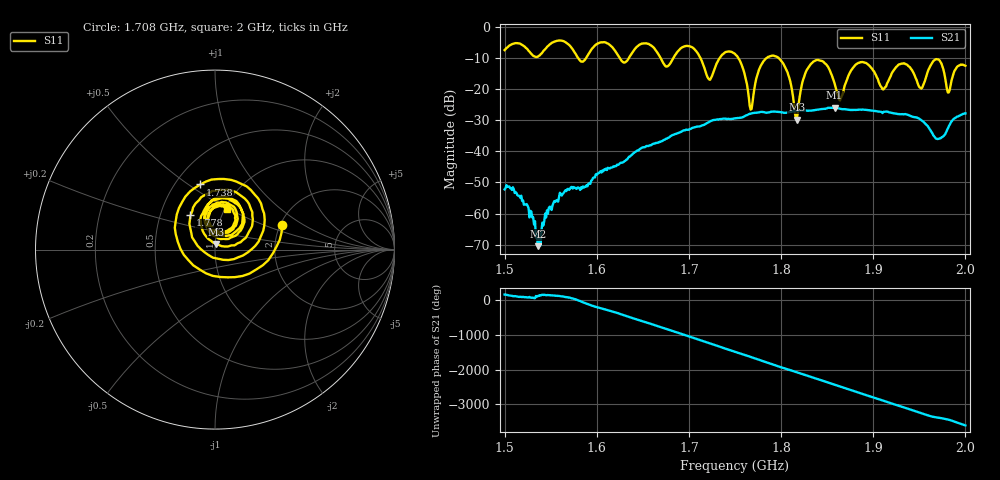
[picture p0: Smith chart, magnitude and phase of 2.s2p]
! NanoVNA-App by SYSJOINT et al v1.1.209 (+OD18)
! Date: 2026-01-21 14:31:13
! Start: 1,5GHz Stop: 2GHz Points: 501
! S-Parameter data: F S11 S21 S12 S22
# Hz S RI R 50
!  Frequency  S11_Real  S11_Imag  S21_Real  S21_Imag  S12_Real  S12_Imag  S22_Real  S22_Imag
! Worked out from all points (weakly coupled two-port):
!   501 points, 1.5 GHz to 2 GHz, reference 50 ohm
!   highest |S21| = -26.08 dB at 1.858 GHz (marker M1); lowest = -70.5 dB at 1.536 GHz (marker M2)
!   lowest |S11| = -29.9 dB at 1.817 GHz (marker M3), VSWR 1.07, Z = 50.4 + j3.2 ohm
!   |S11| at or under -10 dB: 1.712 GHz to 1.734 GHz (21.34 MHz wide, 1.24 % of centre); 1.753 GHz to 1.785 GHz (31.56 MHz wide, 1.78 % of centre); 1.797 GHz to end of sweep (the widest 3 of 6)
!   S12 and S22 are empty: the file has one direction only
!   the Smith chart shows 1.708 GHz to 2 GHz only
!   S11 on the Smith chart (normalised r, x): 1.708 GHz: 2.05, +0.68; 1.738 GHz: 0.66, +0.56; 1.778 GHz: 0.71, +0.29; 2 GHz: 1.02, +0.49
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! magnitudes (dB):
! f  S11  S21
! 1.5 GHz  -7.6  -52.3
! 1.536 GHz  -9.7  -70.5
! 1.584 GHz  -11.3  -51.9
! 1.667 GHz  -8.9  -37.3
! 1.708 GHz  -7.9  -32.2
! 1.722 GHz  -17.0  -30.6
! 1.738 GHz  -8.6  -29.6
! 1.75 GHz  -8.8  -29.4
! 1.767 GHz  -26.7  -27.9
! 1.778 GHz  -12.5  -27.4
! 1.801 GHz  -11.4  -27.5
! 1.817 GHz  -29.9  -27.1
! 1.834 GHz  -11.6  -26.9
! 1.858 GHz  -18.2  -26.1
! 1.865 GHz  -22.9  -26.5
! 1.887 GHz  -11.4  -26.7
! 1.917 GHz  -17.1  -27.5
! 1.934 GHz  -11.8  -28.1
! 1.952 GHz  -19.9  -30.0
! 1.97 GHz  -10.5  -36.1
! 1.982 GHz  -21.1  -32.0
! 2 GHz  -12.6  -27.9
